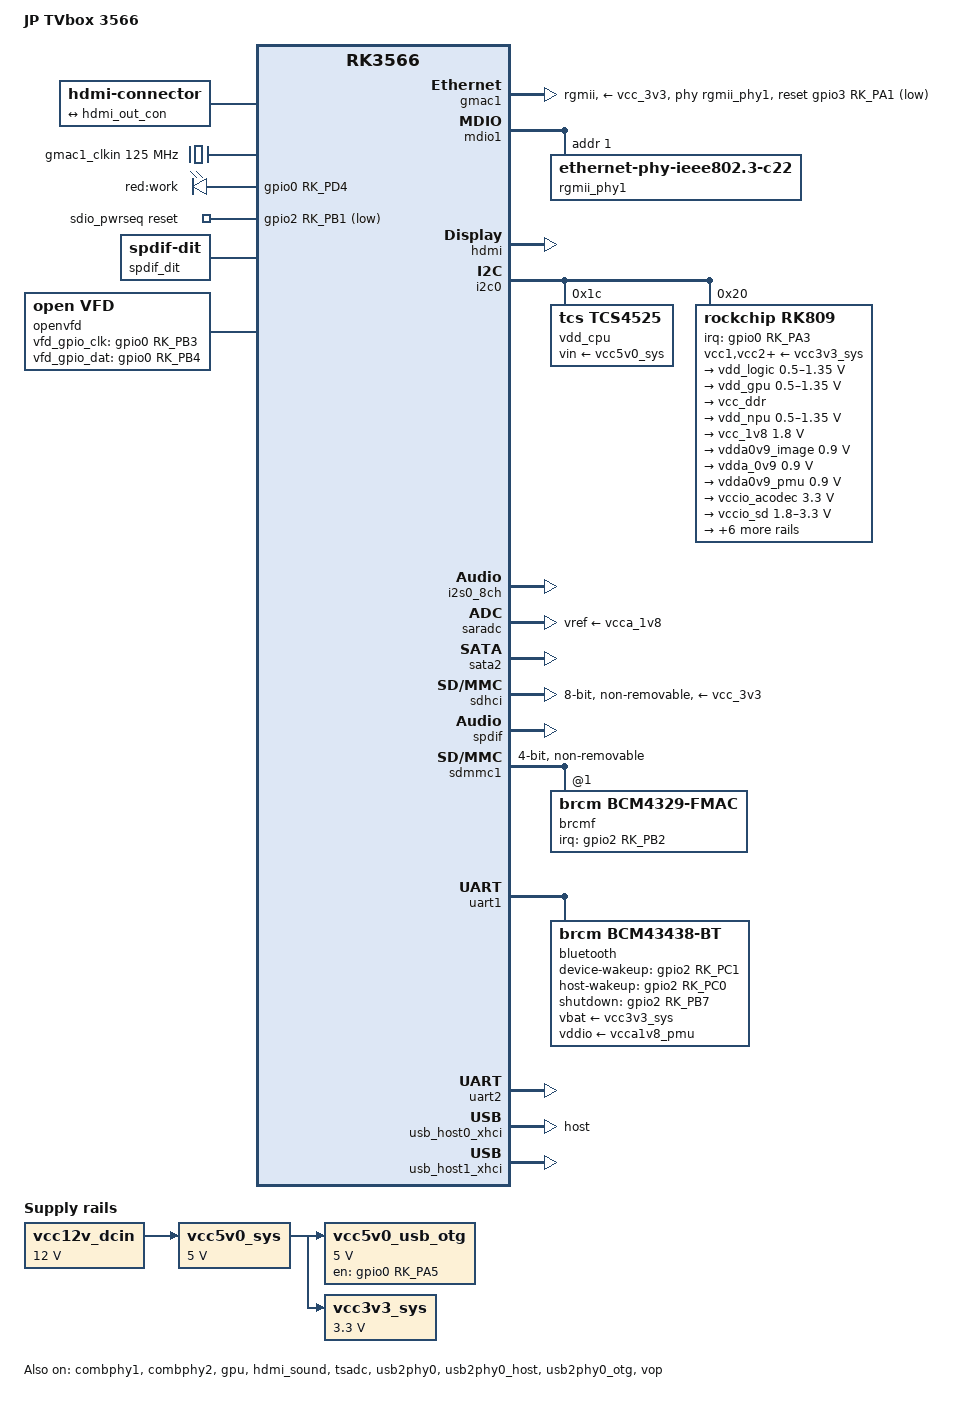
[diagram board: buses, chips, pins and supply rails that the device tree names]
// SPDX-License-Identifier: (GPL-2.0+ OR MIT)
/*
 * Copyright (c) 2023 tdleiyao <tdleiyao@gmail.com>
 */

/dts-v1/;

#include <dt-bindings/gpio/gpio.h>
#include <dt-bindings/input/input.h>
#include <dt-bindings/pinctrl/rockchip.h>
#include <dt-bindings/soc/rockchip,vop2.h>
#include "rk3566.dtsi"

/ {
	model = "JP TVbox 3566";
	compatible = "JP-TVbox,rk3566", "rockchip,rk3566";

	aliases {
		ethernet0 = &gmac1;
		mmc0 = &sdhci;
		mmc1 = &sdmmc1;
	};

	chosen: chosen {
		stdout-path = "serial2:1500000n8";
	};

	reserved_memory: reserved-memory {
		#address-cells = <2>;
		#size-cells = <2>;
		ranges;

		cma: cma {
			compatible = "shared-dma-pool";
			reusable;
			size = <0x0 0x10000000>;
			linux,cma-default;
		};

		ramoops: ramoops@110000 {
			compatible = "ramoops";
			reg = <0x0 0x110000 0x0 0xf0000>;
			record-size = <0x20000>;
			console-size = <0x80000>;
			ftrace-size = <0x00000>;
			pmsg-size = <0x50000>;
		};
	};

	hdmi-con {
		compatible = "hdmi-connector";
		type = "a";

		port {
			hdmi_con_in: endpoint {
				remote-endpoint = <&hdmi_out_con>;
			};
		};
	};

	gmac1_clkin: external-gmac1-clock {
		compatible = "fixed-clock";
		clock-frequency = <125000000>;
		clock-output-names = "gmac1_clkin";
		#clock-cells = <0>;
	};

	leds {
		compatible = "gpio-leds";

		led_work: led-work {
			label = "red:work";
			gpios = <&gpio0 RK_PD4 GPIO_ACTIVE_HIGH>;
			linux,default-trigger = "heartbeat";
			pinctrl-names = "default";
			pinctrl-0 = <&led_work_enable_h>;
		};
	};

	vcc12v_dcin: vcc12v-dcin {
		compatible = "regulator-fixed";
		regulator-name = "vcc12v_dcin";
		regulator-always-on;
		regulator-boot-on;
		regulator-min-microvolt = <12000000>;
		regulator-max-microvolt = <12000000>;
	};

	vcc5v0_sys: vcc5v0-sys-regulator {
		compatible = "regulator-fixed";
		regulator-name = "vcc5v0_sys";
		regulator-always-on;
		regulator-boot-on;
		regulator-min-microvolt = <5000000>;
		regulator-max-microvolt = <5000000>;
		vin-supply = <&vcc12v_dcin>;
	};

	vcc5v0_usb_otg: vcc5v0-usb-otg {
		compatible = "regulator-fixed";
		regulator-name = "vcc5v0_usb_otg";
		regulator-always-on;
		regulator-boot-on;
		regulator-min-microvolt = <5000000>;
		regulator-max-microvolt = <5000000>;
		enable-active-high;
		gpio = <&gpio0 RK_PA5 GPIO_ACTIVE_HIGH>;
		pinctrl-names = "default";
		pinctrl-0 = <&vcc5v0_usb_otg_en>;
		vin-supply = <&vcc5v0_sys>;
	};

	vcc3v3_sys: vcc3v3-sys-regulator {
		compatible = "regulator-fixed";
		regulator-name = "vcc3v3_sys";
		regulator-always-on;
		regulator-boot-on;
		regulator-min-microvolt = <3300000>;
		regulator-max-microvolt = <3300000>;
		vin-supply = <&vcc5v0_sys>;
	};

	sdio_pwrseq: sdio-pwrseq {
		status = "okay";
		compatible = "mmc-pwrseq-simple";
		clocks = <&rk809 1>;
		clock-names = "ext_clock";
		pinctrl-names = "default";
		pinctrl-0 = <&wifi_enable_h>;
		reset-gpios = <&gpio2 RK_PB1 GPIO_ACTIVE_LOW>;
		post-power-on-delay-ms = <100>;
	};

	spdif_dit: spdif-dit {
		compatible = "linux,spdif-dit";
		#sound-dai-cells = <0>;
		status = "okay";
	};

	spdif_sound: spdif-sound {
		compatible = "simple-audio-card";
		simple-audio-card,name = "SPDIF";

		simple-audio-card,cpu {
			sound-dai = <&spdif>;
		};

		simple-audio-card,codec {
			sound-dai = <&spdif_dit>;
		};
	};

	openvfd: openvfd {
		compatible = "open,vfd";
		dev_name = "openvfd";
		status = "okay";
		vfd_gpio_clk = <&gpio0 RK_PB3 GPIO_ACTIVE_HIGH>;
		vfd_gpio_dat = <&gpio0 RK_PB4 GPIO_ACTIVE_HIGH>;
	};
};

&combphy1 {
	phy-supply = <&vcc5v0_usb_otg>;
	status = "okay";
};

&combphy2 {
	status = "okay";
};

&cpu0 {
	cpu-supply = <&vdd_cpu>;
};

&cpu1 {
	cpu-supply = <&vdd_cpu>;
};

&cpu2 {
	cpu-supply = <&vdd_cpu>;
};

&cpu3 {
	cpu-supply = <&vdd_cpu>;
};

&gpu {
	mali-supply = <&vdd_gpu>;
	status = "okay";
};

&gmac1 {
	phy-mode = "rgmii";

	///* input
	clock_in_out = "input";
	assigned-clocks = <&cru SCLK_GMAC1_RX_TX>, <&cru SCLK_GMAC1>;
	assigned-clock-parents = <&cru SCLK_GMAC1_RGMII_SPEED>, <&gmac1_clkin>;
	pinctrl-0 = <&gmac1m0_miim
		     &gmac1m0_tx_bus2
		     &gmac1m0_rx_bus2
		     &gmac1m0_rgmii_clk
		     &gmac1m0_clkinout
		     &gmac1m0_rgmii_bus>;
	//The end of input */

	/* output
	clock_in_out = "output";
	assigned-clocks = <&cru SCLK_GMAC1_RX_TX>, <&cru SCLK_GMAC1>;
	assigned-clock-parents = <&cru SCLK_GMAC1_RGMII_SPEED>, <&cru CLK_MAC1_2TOP>;
	assigned-clock-rates = <0>, <125000000>;
	pinctrl-0 = <&gmac1m0_miim
		     &gmac1m0_tx_bus2_level3
		     &gmac1m0_rx_bus2
		     &gmac1m0_rgmii_clk_level2
		     &gmac1m0_rgmii_bus_level3>;
	The end of output */

	pinctrl-names = "default";

	snps,reset-gpio = <&gpio3 RK_PA1 GPIO_ACTIVE_LOW>;
	snps,reset-active-low;
	/* Reset time is 20ms, 100ms for rtl8211f, also works well here */
	snps,reset-delays-us = <0 20000 100000>;

	tx_delay = <0x3f>;
	rx_delay = <0x3f>;

	phy-handle = <&rgmii_phy1>;
	phy-supply = <&vcc_3v3>;
	status = "okay";
};

&mdio1 {
	rgmii_phy1: ethernet-phy@1 {
		compatible = "ethernet-phy-ieee802.3-c22";
		reg = <1>;
	};
};

&hdmi {
	avdd-0v9-supply = <&vdda0v9_image>;
	avdd-1v8-supply = <&vcca1v8_image>;
	status = "okay";
};

&hdmi_in {
	hdmi_in_vp0: endpoint {
		remote-endpoint = <&vp0_out_hdmi>;
	};
};

&hdmi_out {
	hdmi_out_con: endpoint {
		remote-endpoint = <&hdmi_con_in>;
	};
};

&hdmi_sound {
	status = "okay";
};

&i2c0 {
	status = "okay";

	vdd_cpu: tcs4525@1c {
		compatible = "tcs,tcs4525";
		reg = <0x1c>;
		vin-supply = <&vcc5v0_sys>;
		regulator-compatible = "fan53555-reg";
		regulator-name = "vdd_cpu";
		regulator-min-microvolt = <712500>;
		regulator-max-microvolt = <1390000>;
		regulator-init-microvolt = <900000>;
		regulator-initial-mode = <1>;
		regulator-ramp-delay = <2300>;
		fcs,suspend-voltage-selector = <1>;
		regulator-boot-on;
		regulator-always-on;

		regulator-state-mem {
			regulator-off-in-suspend;
		};
	};

	rk809: pmic@20 {
		compatible = "rockchip,rk809";
		reg = <0x20>;
		interrupt-parent = <&gpio0>;
		interrupts = <RK_PA3 IRQ_TYPE_LEVEL_LOW>;
		assigned-clocks = <&cru I2S1_MCLKOUT_TX>;
		assigned-clock-parents = <&cru CLK_I2S1_8CH_TX>;
		#clock-cells = <1>;
		clock-names = "mclk";
		clocks = <&cru I2S1_MCLKOUT_TX>;
		clock-output-names = "rk808-clkout1", "rk808-clkout2";
		pinctrl-names = "default";
		pinctrl-0 = <&pmic_int_l>, <&i2s1m0_mclk>;
		rockchip,system-power-controller;
		#sound-dai-cells = <0>;
		wakeup-source;

		vcc1-supply = <&vcc3v3_sys>;
		vcc2-supply = <&vcc3v3_sys>;
		vcc3-supply = <&vcc3v3_sys>;
		vcc4-supply = <&vcc3v3_sys>;
		vcc5-supply = <&vcc3v3_sys>;
		vcc6-supply = <&vcc3v3_sys>;
		vcc7-supply = <&vcc3v3_sys>;
		vcc8-supply = <&vcc3v3_sys>;
		vcc9-supply = <&vcc3v3_sys>;

		regulators {
			vdd_logic: DCDC_REG1 {
				regulator-name = "vdd_logic";
				regulator-always-on;
				regulator-boot-on;
				regulator-min-microvolt = <500000>;
				regulator-max-microvolt = <1350000>;
				regulator-init-microvolt = <900000>;
				regulator-ramp-delay = <6001>;
				regulator-initial-mode = <0x2>;
				regulator-state-mem {
					regulator-off-in-suspend;
				};
			};

			vdd_gpu: DCDC_REG2 {
				regulator-name = "vdd_gpu";
				regulator-always-on;
				regulator-boot-on;
				regulator-min-microvolt = <500000>;
				regulator-max-microvolt = <1350000>;
				regulator-init-microvolt = <900000>;
				regulator-ramp-delay = <6001>;
				regulator-initial-mode = <0x2>;
					regulator-state-mem {
					regulator-off-in-suspend;
				};
			};

			vcc_ddr: DCDC_REG3 {
				regulator-always-on;
				regulator-boot-on;
				regulator-initial-mode = <0x2>;
				regulator-name = "vcc_ddr";
				regulator-state-mem {
					regulator-on-in-suspend;
				};
			};

			vdd_npu: DCDC_REG4 {
				regulator-always-on;
				regulator-boot-on;
				regulator-min-microvolt = <500000>;
				regulator-max-microvolt = <1350000>;
				regulator-init-microvolt = <900000>;
				regulator-initial-mode = <0x2>;
				regulator-name = "vdd_npu";
				regulator-state-mem {
					regulator-off-in-suspend;
				};
			};

			vcc_1v8: DCDC_REG5 {
				regulator-name = "vcc_1v8";
				regulator-always-on;
				regulator-boot-on;
				regulator-min-microvolt = <1800000>;
				regulator-max-microvolt = <1800000>;
				regulator-state-mem {
					regulator-off-in-suspend;
				};
			};

			vdda0v9_image: LDO_REG1 {
				regulator-always-on;
				regulator-boot-on;
				regulator-min-microvolt = <900000>;
				regulator-max-microvolt = <900000>;
				regulator-name = "vdda0v9_image";
				regulator-state-mem {
					regulator-off-in-suspend;
				};
			};

			vdda_0v9: LDO_REG2 {
				regulator-always-on;
				regulator-boot-on;
				regulator-min-microvolt = <900000>;
				regulator-max-microvolt = <900000>;
				regulator-name = "vdda_0v9";
				regulator-state-mem {
					regulator-off-in-suspend;
				};
			};

			vdda0v9_pmu: LDO_REG3 {
				regulator-always-on;
				regulator-boot-on;
				regulator-min-microvolt = <900000>;
				regulator-max-microvolt = <900000>;
				regulator-name = "vdda0v9_pmu";
				regulator-state-mem {
					regulator-on-in-suspend;
					regulator-suspend-microvolt = <900000>;
				};
			};

			vccio_acodec: LDO_REG4 {
				regulator-always-on;
				regulator-boot-on;
				regulator-min-microvolt = <3300000>;
				regulator-max-microvolt = <3300000>;
				regulator-name = "vccio_acodec";
				regulator-state-mem {
					regulator-off-in-suspend;
				};
			};

			vccio_sd: LDO_REG5 {
				regulator-always-on;
				regulator-boot-on;
				regulator-min-microvolt = <1800000>;
				regulator-max-microvolt = <3300000>;
				regulator-name = "vccio_sd";
				regulator-state-mem {
					regulator-off-in-suspend;
				};
			};

			vcc3v3_pmu: LDO_REG6 {
				regulator-always-on;
				regulator-boot-on;
				regulator-min-microvolt = <3300000>;
				regulator-max-microvolt = <3300000>;
				regulator-name = "vcc3v3_pmu";
				regulator-state-mem {
					regulator-on-in-suspend;
					regulator-suspend-microvolt = <3300000>;
				};
			};

			vcca_1v8: LDO_REG7 {
				regulator-always-on;
				regulator-boot-on;
				regulator-min-microvolt = <1800000>;
				regulator-max-microvolt = <1800000>;
				regulator-name = "vcca_1v8";
				regulator-state-mem {
					regulator-off-in-suspend;
				};
			};

			vcca1v8_pmu: LDO_REG8 {
				regulator-always-on;
				regulator-boot-on;
				regulator-min-microvolt = <1800000>;
				regulator-max-microvolt = <1800000>;
				regulator-name = "vcca1v8_pmu";
				regulator-state-mem {
					regulator-on-in-suspend;
					regulator-suspend-microvolt = <1800000>;
				};
			};

			vcca1v8_image: LDO_REG9 {
				regulator-always-on;
				regulator-boot-on;
				regulator-min-microvolt = <1800000>;
				regulator-max-microvolt = <1800000>;
				regulator-name = "vcca1v8_image";
				regulator-state-mem {
					regulator-off-in-suspend;
				};
			};

			vcc_3v3: SWITCH_REG1 {
				regulator-name = "vcc_3v3";
				regulator-state-mem {
					regulator-off-in-suspend;
				};
			};

			vcc3v3_sd: SWITCH_REG2 {
				regulator-name = "vcc3v3_sd";
				regulator-state-mem {
					regulator-off-in-suspend;
				};
			};

		};

		codec {
			mic-in-differential;
		};
	};
};

&i2s0_8ch {
	status = "okay";
};

&pinctrl {

	pmic {
		pmic_int_l: pmic-int-l {
			rockchip,pins = <0 RK_PA3 RK_FUNC_GPIO &pcfg_pull_up>;
		};
	};

	sdio-pwrseq {
		wifi_enable_h: wifi-enable-h {
			rockchip,pins = <2 RK_PB1 RK_FUNC_GPIO &pcfg_pull_none>;
		};
	};

	wireless-wlan {
		wifi_host_wake_irq: wifi-host-wake-irq {
			rockchip,pins = <2 RK_PB2 RK_FUNC_GPIO &pcfg_pull_down>;
		};
	};

	bt {
		bt_enable_h: bt-enable-h {
			rockchip,pins = <2 RK_PB7 RK_FUNC_GPIO &pcfg_pull_none>;
		};

		bt_host_wake_l: bt-host-wake-l {
			rockchip,pins = <2 RK_PC0 RK_FUNC_GPIO &pcfg_pull_none>;
		};

		bt_wake_l: bt-wake-l {
			rockchip,pins = <2 RK_PC1 RK_FUNC_GPIO &pcfg_pull_none>;
		};
	};

	leds {
		led_work_enable_h: led-work-enable-h {
			rockchip,pins = <0 RK_PD4 RK_FUNC_GPIO &pcfg_pull_none>;
		};
	};

	usb {
		vcc5v0_usb_otg_en: vcc5v0-usb-otg-en {
			rockchip,pins = <0 RK_PA5 RK_FUNC_GPIO &pcfg_pull_none>;
		};
	};
};

&pmu_io_domains {
	pmuio1-supply = <&vcc3v3_pmu>;
	pmuio2-supply = <&vcc3v3_pmu>;
	vccio1-supply = <&vccio_acodec>;
	vccio3-supply = <&vccio_sd>;
	vccio4-supply = <&vcc_1v8>;
	vccio5-supply = <&vcc_3v3>;
	vccio6-supply = <&vcc_1v8>;
	vccio7-supply = <&vcc_3v3>;
	status = "okay";
};

&saradc {
	vref-supply = <&vcca_1v8>;
	status = "okay";
};

&sata2 {
	status = "okay";
};

&sdhci {
	bus-width = <8>;
	mmc-hs200-1_8v;
	non-removable;
	vmmc-supply = <&vcc_3v3>;
	vqmmc-supply = <&vcc_1v8>;
	status = "okay";
};

/* spdif is exposed on con40 pin 18 */
&spdif {
	status = "okay";
};

&sdmmc1 {
	status = "okay";

	bus-width = <4>;
	max-frequency = <200000000>;
	cap-sd-highspeed;
	sd-uhs-sdr50;
	sd-uhs-ddr50;
	sd-uhs-sdr104;

	supports-sdio;
	disable-wp;
	cap-sdio-irq;
	keep-power-in-suspend;
	non-removable;
	rockchip,default-sample-phase=<90>;
	mmc-pwrseq = <&sdio_pwrseq>;
	pinctrl-names = "default";
	pinctrl-0 = <&sdmmc1_bus4 &sdmmc1_cmd &sdmmc1_clk>;
	#address-cells = <1>;
	#size-cells = <0>;

	brcmf: wifi@1 {
		compatible = "brcm,bcm4329-fmac";
		reg = <1>;
		interrupt-parent = <&gpio2>;
		interrupts = <RK_PB2 IRQ_TYPE_LEVEL_HIGH>;
		interrupt-names = "host-wake";
		pinctrl-names = "default";
		pinctrl-0 = <&wifi_host_wake_irq>;
	};
};

&tsadc {
	status = "okay";
};

&uart1 {
	pinctrl-names = "default";
	pinctrl-0 = <&uart1m0_xfer &uart1m0_ctsn &uart1m0_rtsn>;
	status = "okay";

	bluetooth {
		compatible = "brcm,bcm43438-bt";
		clocks = <&rk809 1>;
		clock-names = "lpo";
		device-wakeup-gpios = <&gpio2 RK_PC1 GPIO_ACTIVE_HIGH>;
		host-wakeup-gpios = <&gpio2 RK_PC0 GPIO_ACTIVE_HIGH>;
		shutdown-gpios = <&gpio2 RK_PB7 GPIO_ACTIVE_HIGH>;
		max-speed = <1500000>;
		pinctrl-names = "default";
		pinctrl-0 = <&bt_host_wake_l &bt_wake_l &bt_enable_h>;
		vbat-supply = <&vcc3v3_sys>;
		vddio-supply = <&vcca1v8_pmu>;
	};
};

&uart2 {
	status = "okay";
};

&usb_host0_xhci {
	dr_mode = "host";
	status = "okay";
};

&usb2phy0 {
	status = "okay";
};

&usb2phy0_host {
	phy-supply = <&vcc5v0_usb_otg>;
	status = "okay";
};

&usb2phy0_otg {
	phy-supply = <&vcc5v0_usb_otg>;
	status = "okay";
};

&usb_host1_xhci {
	status = "okay";
};

&usb2phy1 {
	status = "disabled";
};

&usb2phy1_host {
	status = "disabled";
};

&usb2phy1_otg {
	status = "disabled";
};

&vop {
	assigned-clocks = <&cru DCLK_VOP0>, <&cru DCLK_VOP1>;
	assigned-clock-parents = <&pmucru PLL_HPLL>, <&cru PLL_VPLL>;
	status = "okay";
};

&vop_mmu {
	status = "okay";
};

&vp0 {
	vp0_out_hdmi: endpoint@ROCKCHIP_VOP2_EP_HDMI0 {
		reg = <ROCKCHIP_VOP2_EP_HDMI0>;
		remote-endpoint = <&hdmi_in_vp0>;
	};
};

&cpu0_opp_table {

	opp-1416000000 {
		opp-microvolt = <950000 950000 1150000>;
	};

	opp-1608000000 {
		opp-microvolt = <1050000 1050000 1150000>;
	};

	opp-1800000000 {
		opp-microvolt = <1150000 1150000 1150000>;
	};
};
